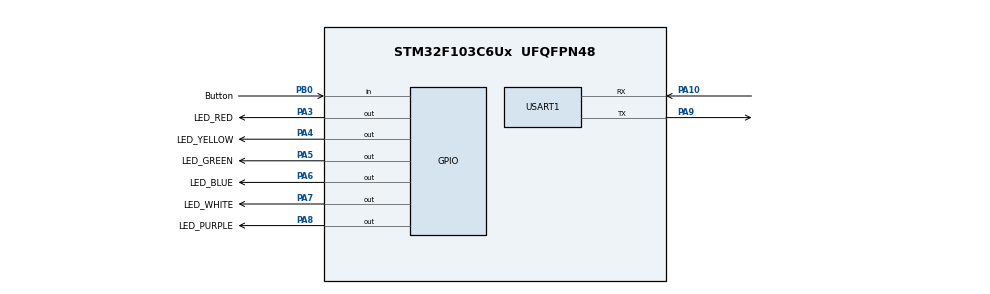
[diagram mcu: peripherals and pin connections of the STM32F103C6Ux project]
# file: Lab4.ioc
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Mcu.Family=STM32F1
Mcu.Name=STM32F103C6Ux
Mcu.Package=UFQFPN48
NVIC.PriorityGroup=NVIC_PRIORITYGROUP_4
NVIC.TIM2_IRQn=true\:0\:0\:false\:false\:true\:true\:true
NVIC.USART1_IRQn=true\:0\:0\:false\:false\:true\:true\:true
PA10.Mode=Asynchronous
PA10.Signal=USART1_RX
PA3.GPIO_Label=LED_RED
PA3.Signal=GPIO_Output
PA4.GPIO_Label=LED_YELLOW
PA4.Signal=GPIO_Output
PA5.GPIO_Label=LED_GREEN
PA5.Signal=GPIO_Output
PA6.GPIO_Label=LED_BLUE
PA6.Signal=GPIO_Output
PA7.GPIO_Label=LED_WHITE
PA7.Signal=GPIO_Output
PA8.GPIO_Label=LED_PURPLE
PA8.Signal=GPIO_Output
PA9.Mode=Asynchronous
PA9.Signal=USART1_TX
PB0.GPIO_Label=Button
PB0.GPIO_PuPd=GPIO_PULLUP
PB0.Signal=GPIO_Input
ProjectManager.HeapSize=0x200
ProjectManager.StackSize=0x400
ProjectManager.TargetToolchain=STM32CubeIDE
RCC.APB1Freq_Value=8000000
RCC.APB2Freq_Value=8000000
TIM2.AutoReloadPreload=TIM_AUTORELOAD_PRELOAD_DISABLE
TIM2.Period=99
TIM2.Prescaler=799
USART1.VirtualMode=VM_ASYNC
VP_SYS_VS_ND.Mode=No_Debug
VP_TIM2_VS_ClockSourceINT.Mode=Internal
board=custom

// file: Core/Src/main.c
/* USER CODE BEGIN Header */
/**
  ******************************************************************************
  * @file           : main.c
  * @brief          : Main program body
  ******************************************************************************
  * @attention
  *
  * <h2><center>&copy; Copyright (c) 2022 STMicroelectronics.
  * All rights reserved.</center></h2>
  *
  * This software component is licensed by ST under BSD 3-Clause license,
  * the "License"; You may not use this file except in compliance with the
  * License. You may obtain a copy of the License at:
  *                        opensource.org/licenses/BSD-3-Clause
  *
  ******************************************************************************
  */
/* USER CODE END Header */
#include "main.h"

/* USER CODE BEGIN Includes */
#include "scheduler.h"
#include "button.h"
#include "string.h"
/* USER CODE END Includes */

TIM_HandleTypeDef htim2;

UART_HandleTypeDef huart1;

void SystemClock_Config(void);
static void MX_GPIO_Init(void);
static void MX_TIM2_Init(void);
static void MX_USART1_UART_Init(void);

/* USER CODE BEGIN 0 */
// task function
void toggleLedRed(){
	HAL_GPIO_TogglePin(LED_RED_GPIO_Port, LED_RED_Pin);
}
void toggleLedYellow(){
	HAL_GPIO_TogglePin(LED_YELLOW_GPIO_Port, LED_YELLOW_Pin);
}
void toggleLedGreen(){
	HAL_GPIO_TogglePin(LED_GREEN_GPIO_Port, LED_GREEN_Pin);
}
void toggleLedBlue(){
	HAL_GPIO_TogglePin(LED_BLUE_GPIO_Port, LED_BLUE_Pin);
}
void toggleLedWhite(){
	HAL_GPIO_TogglePin(LED_WHITE_GPIO_Port, LED_WHITE_Pin);
}
void toggleLedPurple(){
	HAL_GPIO_TogglePin(LED_PURPLE_GPIO_Port, LED_PURPLE_Pin);
}

// write to uart for debugging as well as print time stamp
void writeMessage(char * str){
	HAL_UART_Transmit(&huart1 , (void *)str, strlen(str), 5);
}
/* USER CODE END 0 */

int main(void)
{

  /* MCU Configuration--------------------------------------------------------*/

  /* Reset of all peripherals, Initializes the Flash interface and the Systick. */
  HAL_Init();

  /* Configure the system clock */
  SystemClock_Config();

  /* Initialize all configured peripherals */
  MX_GPIO_Init();
  MX_TIM2_Init();
  MX_USART1_UART_Init();
  /* USER CODE BEGIN 2 */
  HAL_TIM_Base_Start_IT(&htim2);
  schedulerInit();

  //add button control task
  schedulerAddTask(initButton, 0, 0); // one shot task

  // because timestamp in print every time a task is execute,
  // but input reading running as soon as scheduler update
  // so a lot of message will be written to uart, cause simulatin to slow down
  // if you want to put button reading in scheduler, then uncomment line below
//#define checktimestamp
#ifdef checktimestamp
  schedulerAddTask(button_reading, 5, 1); // scan button every 10 ms
#endif
  schedulerAddTask(toggleLedRed, 0, 50); // 50 * 10 ms = 500 ms second period
  schedulerAddTask(toggleLedYellow, 0, 100); // 1 second period task
  schedulerAddTask(toggleLedGreen, 0, 150);	// 1.5 second period task
  schedulerAddTask(toggleLedBlue, 0, 200); // 2 second period task
  schedulerAddTask(toggleLedWhite, 0, 250); // 2.5 second period task
  /* USER CODE END 2 */

  /* Infinite loop */
  /* USER CODE BEGIN WHILE */
  while (1)
  {
	  schedulerDispatcher();
	  if(isButtonPressed(0)){
		  schedulerAddTask(toggleLedPurple, 0, 0);
	  }
    /* USER CODE END WHILE */

  }
}

void SystemClock_Config(void)
{
  RCC_OscInitTypeDef RCC_OscInitStruct = {0};
  RCC_ClkInitTypeDef RCC_ClkInitStruct = {0};

  /** Initializes the RCC Oscillators according to the specified parameters
  * in the RCC_OscInitTypeDef structure.
  */
  RCC_OscInitStruct.OscillatorType = RCC_OSCILLATORTYPE_HSI;
  RCC_OscInitStruct.HSIState = RCC_HSI_ON;
  RCC_OscInitStruct.HSICalibrationValue = RCC_HSICALIBRATION_DEFAULT;
  RCC_OscInitStruct.PLL.PLLState = RCC_PLL_NONE;
  if (HAL_RCC_OscConfig(&RCC_OscInitStruct) != HAL_OK)
  {
    Error_Handler();
  }
  /** Initializes the CPU, AHB and APB buses clocks
  */
  RCC_ClkInitStruct.ClockType = RCC_CLOCKTYPE_HCLK|RCC_CLOCKTYPE_SYSCLK
                              |RCC_CLOCKTYPE_PCLK1|RCC_CLOCKTYPE_PCLK2;
  RCC_ClkInitStruct.SYSCLKSource = RCC_SYSCLKSOURCE_HSI;
  RCC_ClkInitStruct.AHBCLKDivider = RCC_SYSCLK_DIV1;
  RCC_ClkInitStruct.APB1CLKDivider = RCC_HCLK_DIV1;
  RCC_ClkInitStruct.APB2CLKDivider = RCC_HCLK_DIV1;

  if (HAL_RCC_ClockConfig(&RCC_ClkInitStruct, FLASH_LATENCY_0) != HAL_OK)
  {
    Error_Handler();
  }
}

static void MX_TIM2_Init(void)
{

  TIM_ClockConfigTypeDef sClockSourceConfig = {0};
  TIM_MasterConfigTypeDef sMasterConfig = {0};

  htim2.Instance = TIM2;
  htim2.Init.Prescaler = 799;
  htim2.Init.CounterMode = TIM_COUNTERMODE_UP;
  htim2.Init.Period = 99;
  htim2.Init.ClockDivision = TIM_CLOCKDIVISION_DIV1;
  htim2.Init.AutoReloadPreload = TIM_AUTORELOAD_PRELOAD_DISABLE;
  if (HAL_TIM_Base_Init(&htim2) != HAL_OK)
  {
    Error_Handler();
  }
  sClockSourceConfig.ClockSource = TIM_CLOCKSOURCE_INTERNAL;
  if (HAL_TIM_ConfigClockSource(&htim2, &sClockSourceConfig) != HAL_OK)
  {
    Error_Handler();
  }
  sMasterConfig.MasterOutputTrigger = TIM_TRGO_RESET;
  sMasterConfig.MasterSlaveMode = TIM_MASTERSLAVEMODE_DISABLE;
  if (HAL_TIMEx_MasterConfigSynchronization(&htim2, &sMasterConfig) != HAL_OK)
  {
    Error_Handler();
  }

}

static void MX_USART1_UART_Init(void)
{

  huart1.Instance = USART1;
  huart1.Init.BaudRate = 115200;
  huart1.Init.WordLength = UART_WORDLENGTH_8B;
  huart1.Init.StopBits = UART_STOPBITS_1;
  huart1.Init.Parity = UART_PARITY_NONE;
  huart1.Init.Mode = UART_MODE_TX_RX;
  huart1.Init.HwFlowCtl = UART_HWCONTROL_NONE;
  huart1.Init.OverSampling = UART_OVERSAMPLING_16;
  if (HAL_UART_Init(&huart1) != HAL_OK)
  {
    Error_Handler();
  }

}

static void MX_GPIO_Init(void)
{
  GPIO_InitTypeDef GPIO_InitStruct = {0};

  /* GPIO Ports Clock Enable */
  __HAL_RCC_GPIOA_CLK_ENABLE();
  __HAL_RCC_GPIOB_CLK_ENABLE();

  /*Configure GPIO pin Output Level */
  HAL_GPIO_WritePin(GPIOA, LED_RED_Pin|LED_YELLOW_Pin|LED_GREEN_Pin|LED_BLUE_Pin
                          |LED_WHITE_Pin|LED_PURPLE_Pin, GPIO_PIN_RESET);

  /*Configure GPIO pins : LED_RED_Pin LED_YELLOW_Pin LED_GREEN_Pin LED_BLUE_Pin
                           LED_WHITE_Pin LED_PURPLE_Pin */
  GPIO_InitStruct.Pin = LED_RED_Pin|LED_YELLOW_Pin|LED_GREEN_Pin|LED_BLUE_Pin
                          |LED_WHITE_Pin|LED_PURPLE_Pin;
  GPIO_InitStruct.Mode = GPIO_MODE_OUTPUT_PP;
  GPIO_InitStruct.Pull = GPIO_NOPULL;
  GPIO_InitStruct.Speed = GPIO_SPEED_FREQ_LOW;
  HAL_GPIO_Init(GPIOA, &GPIO_InitStruct);

  /*Configure GPIO pin : Button_Pin */
  GPIO_InitStruct.Pin = Button_Pin;
  GPIO_InitStruct.Mode = GPIO_MODE_INPUT;
  GPIO_InitStruct.Pull = GPIO_PULLUP;
  HAL_GPIO_Init(Button_GPIO_Port, &GPIO_InitStruct);

}

/* USER CODE BEGIN 4 */
void HAL_TIM_PeriodElapsedCallback(TIM_HandleTypeDef *htim){
	schedulerUpdate();
#ifndef checktimestamp
	button_reading();
#endif
}

/* USER CODE END 4 */

void Error_Handler(void)
{
  __disable_irq();
  while (1)
  {
  }
}

/************************ (C) COPYRIGHT STMicroelectronics *****END OF FILE****/
